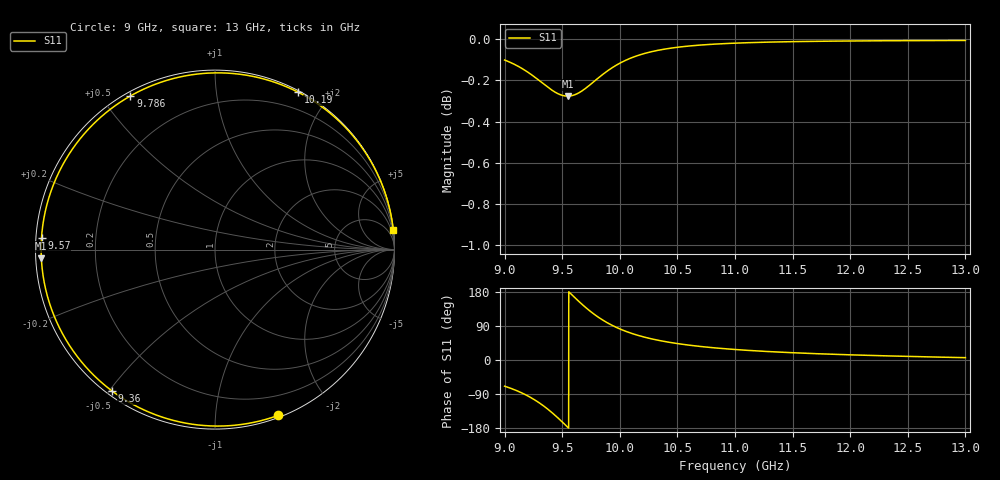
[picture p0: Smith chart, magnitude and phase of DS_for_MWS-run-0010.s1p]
! TOUCHSTONE file generated by CST DESIGN STUDIO
! Date and time: Tue Feb  4 17:31:07 2025
! Project name: C:\Work\MatlabApps\UnitCellOptimizationMatlab\CST\unitcell.cst
! Tree item: Tasks\Sweep1\SPara1\S-Parameters
! Header version: 2024
! Port assignment regex: !\s*Touchstone port\s*([0-9]+)\s*=\s*(CST MWS port|CST DES external port|CST DES block port)\s*(.+)\s* \(\"(.*)\"\)(\s*mode\s*([0-9]+))?.*
! Touchstone port assignment:
! Touchstone port 1 = CST DES external port 1 ("")
# GHz S MA R 50
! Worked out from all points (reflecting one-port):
!   4001 points, 9 GHz to 13 GHz, reference 50 ohm
!   lowest |S11| = -0.3 dB at 9.547 GHz (marker M1), VSWR 62.94, Z = 0.795 - j1.26 ohm
!   phase of S11 starts at -69 deg and turns -285 deg over the sweep
!   S11 on the Smith chart (normalised r, x): 9 GHz: 0.02, -1.45; 9.36 GHz: 0.02, -0.51; 9.57 GHz: 0.02, +0.03; 9.786 GHz: 0.02, +0.59; 10.19 GHz: 0.02, +1.66; 13 GHz: 0, +19
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9  0.9885 -69.1
9.038  0.9875 -73.0
9.103  0.9855 -80.6
9.214  0.9813 -96.9
9.291  0.9777 -111.1
9.36  0.9743 -126.2
9.428  0.9713 -143.3
9.5  0.9692 -163.4
9.547  0.9687 -177.1
9.57  0.9688 176.1
9.625  0.9699 160.1
9.685  0.9721 143.5
9.735  0.9745 130.7
9.786  0.9772 118.8
9.832  0.9796 109.2
9.882  0.982 99.9
9.937  0.9844 90.9
10  0.9867 82.0
10.092  0.9895 71.3
10.191  0.9917 62.2
10.333  0.9939 52.1
10.5  0.9956 43.3
10.721  0.9969 35.0
11  0.9979 27.7
11.5  0.9987 19.2
12  0.9991 13.6
12.5  0.9993 9.5
13  0.9994 6.2
